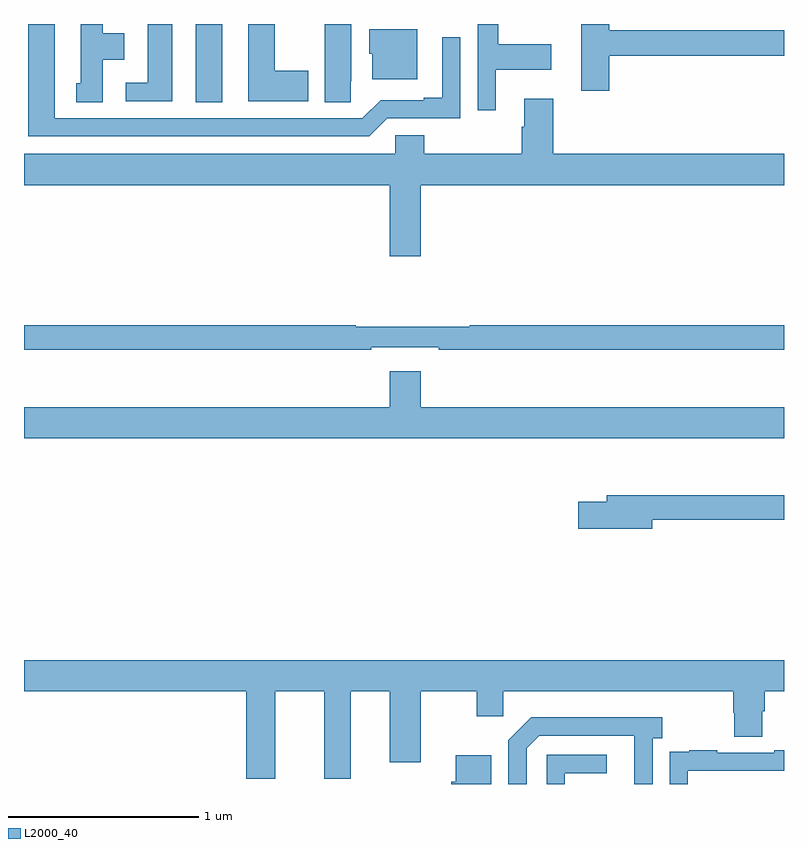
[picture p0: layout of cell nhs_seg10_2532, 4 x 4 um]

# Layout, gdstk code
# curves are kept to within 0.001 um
import gdstk
lib = gdstk.Library(unit=1e-6, precision=1e-09)
def R(c, l, rs):  # rectangles x0, y0, x1, y1
    for r in rs: c.add(gdstk.rectangle(r[:2], r[2:], *l))
def P(c, l, *ps):  # polygons
    for p in ps: c.add(gdstk.Polygon(p, *l))
L2000_40 = (2000, 40)

nhs_seg10_2532 = lib.new_cell('nhs_seg10_2532')
R(nhs_seg10_2532, L2000_40, [(247.904,1298.089,248.044,1298.5)])
P(nhs_seg10_2532, L2000_40, [(247.78,1298.5),(247.652,1298.5),(247.652,1298.19),(247.536,1298.19),(247.536,1298.094),(247.78,1298.094)],
  [(250.079,1298.332),(251,1298.332),(251,1298.468),(250.079,1298.468),(250.079,1298.5),(249.932,1298.5),(249.932,1298.148),(250.079,1298.148)],
  [(248.913,1298.004),(249.297,1298.004),(249.297,1298.431),(249.2,1298.431),(249.2,1298.113),(249.104,1298.113),(249.104,1298.1),(248.877,1298.1),(248.781,1298.004),(247.162,1298.004),(247.162,1298.5),(247.022,1298.5),(247.022,1297.908),(248.817,1297.908)],
  [(249.484,1298.258),(249.775,1298.258),(249.775,1298.393),(249.496,1298.393),(249.496,1298.5),(249.387,1298.5),(249.387,1298.046),(249.484,1298.046)],
  [(248.721,1298.2),(248.722,1298.2),(248.722,1298.5),(248.582,1298.5),(248.582,1298.089),(248.721,1298.089)],
  [(248.497,1298.253),(248.32,1298.253),(248.32,1298.5),(248.18,1298.5),(248.18,1298.093),(248.497,1298.093)],
  [(247.414,1298.312),(247.528,1298.312),(247.528,1298.452),(247.414,1298.452),(247.414,1298.5),(247.298,1298.5),(247.298,1298.187),(247.274,1298.187),(247.274,1298.089),(247.414,1298.089)],
  [(249.07,1298.473),(248.816,1298.473),(248.816,1298.343),(248.834,1298.343),(248.834,1298.21),(249.07,1298.21)],
  [(249.088,1297.652),(251,1297.652),(251,1297.816),(249.785,1297.816),(249.785,1298.107),(249.632,1298.107),(249.632,1297.958),(249.62,1297.958),(249.62,1297.816),(249.107,1297.816),(249.107,1297.914),(248.955,1297.914),(248.955,1297.816),(247,1297.816),(247,1297.652),(248.924,1297.652),(248.924,1297.278),(249.088,1297.278)],
  [(248.828,1296.798),(249.184,1296.798),(249.184,1296.786),(251,1296.786),(251,1296.914),(249.345,1296.914),(249.345,1296.907),(248.745,1296.907),(248.745,1296.914),(247,1296.914),(247,1296.786),(248.828,1296.786)],
  [(251,1296.484),(249.088,1296.484),(249.088,1296.673),(248.924,1296.673),(248.924,1296.484),(247,1296.484),(247,1296.32),(251,1296.32)],
  [(250.306,1295.89),(251,1295.89),(251,1296.019),(250.067,1296.019),(250.067,1295.985),(249.918,1295.985),(249.918,1295.843),(250.306,1295.843)],
  [(248.323,1294.988),(248.579,1294.988),(248.579,1294.527),(248.719,1294.527),(248.719,1294.988),(248.924,1294.988),(248.924,1294.614),(249.088,1294.614),(249.088,1294.988),(249.383,1294.988),(249.383,1294.857),(249.522,1294.857),(249.522,1294.988),(250.733,1294.988),(250.733,1294.875),(250.738,1294.875),(250.738,1294.75),(250.885,1294.75),(250.885,1294.882),(250.898,1294.882),(250.898,1294.988),(251,1294.988),(251,1295.152),(247,1295.152),(247,1294.988),(248.171,1294.988),(248.171,1294.527),(248.323,1294.527)],
  [(249.645,1294.689),(249.711,1294.755),(250.211,1294.755),(250.212,1294.5),(250.308,1294.5),(250.308,1294.742),(250.36,1294.742),(250.36,1294.852),(249.67,1294.852),(249.549,1294.731),(249.549,1294.5),(249.645,1294.5)],
  [(250.494,1294.569),(251,1294.569),(251,1294.678),(250.949,1294.678),(250.949,1294.665),(250.649,1294.665),(250.649,1294.678),(250.501,1294.678),(250.501,1294.671),(250.399,1294.671),(250.399,1294.562),(250.398,1294.562),(250.398,1294.5),(250.494,1294.5)],
  [(249.846,1294.557),(250.066,1294.557),(250.066,1294.653),(249.75,1294.653),(249.75,1294.5),(249.846,1294.5)],
  [(249.46,1294.651),(249.272,1294.651),(249.272,1294.512),(249.248,1294.512),(249.248,1294.5),(249.46,1294.5)])

lib.write_gds('nhs_seg10_2532.gds')
